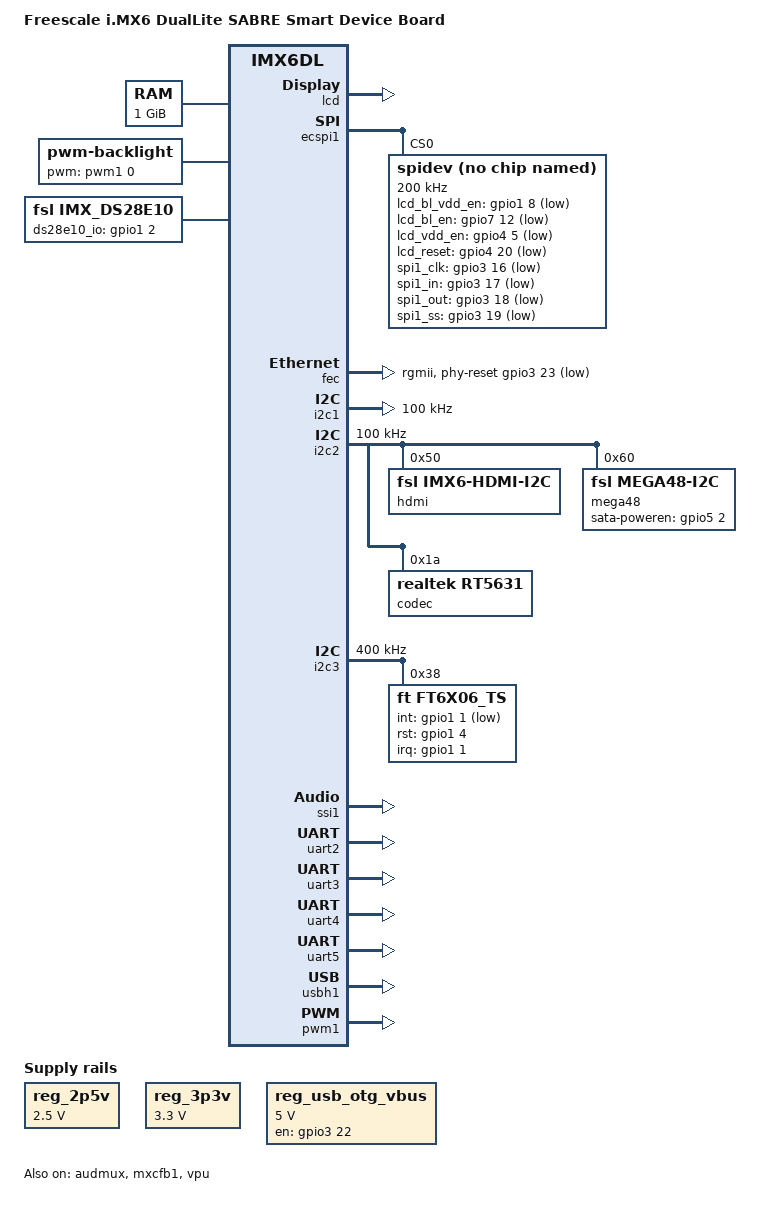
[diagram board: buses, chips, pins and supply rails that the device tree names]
/*
 * Copyright (C) 2013 Freescale Semiconductor, Inc.
 *
 * This program is free software; you can redistribute it and/or modify
 * it under the terms of the GNU General Public License version 2 as
 * published by the Free Software Foundation.
 */

/dts-v1/;

#include "hio-ppc4535-dl.dtsi"
#include "hio-ppc4535-qdl-sabresd.dtsi"

/ {
	model = "Freescale i.MX6 DualLite SABRE Smart Device Board";
	compatible = "fsl,imx6dl-sabresd", "fsl,imx6dl";

	memory {
		reg = <0x10000000 0x40000000>;
	};

        regulators {    
                compatible = "simple-bus";

                reg_2p5v: 2p5v {
                        compatible = "regulator-fixed";
                        regulator-name = "2P5V";
                        regulator-min-microvolt = <2500000>;
                        regulator-max-microvolt = <2500000>;
                        regulator-always-on;
                };

		reg_3p3v: 3p3v {
			compatible = "regulator-fixed";
			regulator-name = "3P3V";
			regulator-min-microvolt = <3300000>;
			regulator-max-microvolt = <3300000>;
			regulator-always-on;
		};

		reg_usb_otg_vbus: usb_otg_vbus {
			compatible = "regulator-fixed";
			regulator-name = "usb_otg_vbus";
			regulator-min-microvolt = <5000000>;
			regulator-max-microvolt = <5000000>;
			gpio = <&gpio3 22 0>;
			enable-active-high;
		};
	};
	sound-hdmi {
		compatible = "fsl,imx6q-audio-hdmi",
			     "fsl,imx-audio-hdmi";
		model = "imx-audio-hdmi";
		hdmi-controller = <&hdmi_audio>;
	};
	sound {
		compatible = "fsl,imx-audio-rt5631";
		model = "imx6dl-rt5631";
		ssi-controller = <&ssi1>;
		audio-codec = <&codec>;
		audio-routing =
			//"Mic Bias1", "Mic Jack",
			//"MIC1", "Mic Bias1",
			"Headphone Jack", "HPOL",
			"Headphone Jack", "HPOR",
			"Ext Spk", "SPOL",
			"Ext Spk", "SPOR";
		mux-int-port = <1>;
		mux-ext-port = <4>;
		
		//hp-det-gpios = <&gpio7 8 1>;
		/*+++wwj begin 20150317@add mic detect*/
		//#ifdef CONFIG_MIC_DEC
	        //      mic-det-gpios = <&gpio7 11 1>;
		//#endif
		/*+++wwj end 20150317@add mic detect*/
	};
	/*
	sound {
		compatible = "fsl,imx6q-sabrelite-sgtl5000",
			     "fsl,imx-audio-sgtl5000";
		model = "imx6q-sabrelite-sgtl5000";
		ssi-controller = <&ssi1>;
		audio-codec = <&codec>;
		audio-routing =
			"MIC_IN", "Mic Jack",
			"Mic Jack", "Mic Bias",
			"Headphone Jack", "HP_OUT";
		mux-int-port = <1>;
		mux-ext-port = <4>;
	};
	*/
	v4l2_out {
		compatible = "fsl,mxc_v4l2_output";
		status = "okay";
	};
	backlight {
		compatible = "pwm-backlight";
		pwms = <&pwm1 0 5000000>;
		brightness-levels = <0 50 80 110 140 170 200>;
		default-brightness-level = <0>;
	};

	//add ben sharp lcd
	#if 0
	sharplcd {
		compatible = "fsl,sharplcd";
	        status = "okay";	

		lcd_bl_vdd_en = <&gpio1 8 1>;
		lcd_bl_en = <&gpio7 12 1>;
		lcd_vdd_en = <&gpio4 5 1>;
		lcd_reset = <&gpio4 20 1>;

		spi1_clk = <&gpio3 16 1>;	
		spi1_in = <&gpio3 17 1>;
		spi1_out = <&gpio3 18 1>;
		spi1_ss = <&gpio3 19 1>;
	};
	#endif
//+++MQ
    ds28e10 {
        compatible = "fsl,imx_ds28e10";
        status = "okay";
        ds28e10_io = <&gpio1 2 0>;
    };
//+++MQ
};

&audmux {
        status = "okay";
        pinctrl-names = "default";
        pinctrl-0 = <&pinctrl_audmux_1>;
};

//&ldb {
//	ipu_id = <0>;
//	sec_ipu_id = <0>;
//};

&lcd {
	ipu_id = <0>;
	sec_ipu_id = <0>;

	status = "okay";
};

&mxcfb1 {
        compatible = "fsl,mxc_sdc_fb";
        disp_dev = "lcd";
        interface_pix_fmt = "RGB24";
        mode_str ="480x800";
        default_bpp = <32>;
        int_clk = <0>;
        late_init = <0>;
        status = "okay";
};


//&mxcfb2 {
//        status = "okay";
//};

//&mxcfb3 {
//        status = "okay";
//};

//&mxcfb4 {
//        status = "okay";
//};

&ecspi1 {
	fsl,spi-num-chipselects = <1>;
	//cs-gpios = <&gpio3 19 0>;
	pinctrl-names = "default";
	pinctrl-0 = <&pinctrl_ecspi1_2>;
	status = "ok";

	spidev@0 {
		compatible = "spidev";
		spi-max-frequency = <200000>;
		reg = <0>;

	        lcd_bl_vdd_en = <&gpio1 8 1>;
                lcd_bl_en = <&gpio7 12 1>;
                lcd_vdd_en = <&gpio4 5 1>;
                lcd_reset = <&gpio4 20 1>;

                spi1_clk = <&gpio3 16 1>;
                spi1_in = <&gpio3 17 1>;
                spi1_out = <&gpio3 18 1>;
                spi1_ss = <&gpio3 19 1>;
	};
};

&fec {
	pinctrl-names = "default";
	pinctrl-0 = <&pinctrl_enet_1>;
	phy-mode = "rgmii";
	phy-reset-gpios = <&gpio3 23 0>;
	status = "okay";
};

&i2c1 {
	status = "okay";
	clock-frequency = <100000>;
	pinctrl-names = "default";
	pinctrl-0 = <&pinctrl_i2c1_1>;
};

&i2c2 {
	clock-frequency = <100000>;
	pinctrl-names = "default";
	pinctrl-0 = <&pinctrl_i2c2_2>;
	status = "okay";

	hdmi: edid@50 {
		compatible = "fsl,imx6-hdmi-i2c";
		reg = <0x50>;
	};

	mega48@60 {
		compatible = "fsl,mega48-i2c";
		sata-poweren=<&gpio5 2 0>;
		reg = <0x60>;
	};

	codec: rt5631@1a {
		  compatible = "realtek,rt5631";
		  //compatible = "realtek,alc5631";
		  reg = <0x1a>;
		  clocks = <&clks 201>;
	};

#if 0
	ct36x_ts@01 {
		compatible = "eeti,ct36x_ts";
		reg = <0x01>;
		interrupt-parent = <&gpio1>;
		interrupts = <1 3>;//falling edge
		gpio_int = <&gpio1 5 3>;
		gpio_rst = <&gpio1 4 0>;
        	};
#endif

	/*
	codec: sgtl5000@0a {
		compatible = "fsl,sgtl5000";
		reg = <0x0a>;
		clocks = <&clks 201>;
		VDDA-supply = <&reg_2p5v>;
		VDDIO-supply = <&reg_3p3v>;
	};
	*/
};

&i2c3 {
	clock-frequency = <400000>;
	pinctrl-names = "default";
	pinctrl-0 = <&pinctrl_i2c3_2>;
	status = "okay";	

        ft6x06_ts@0x38 {
                compatible = "ft,ft6x06_ts";
                reg = <0x38>;
                interrupt-parent = <&gpio1>;
                interrupts = <1 3>;//falling edge
                gpio_int = <&gpio1 1 3>;
                gpio_rst = <&gpio1 4 0>;
        };

#if 0
//#ifdef CONFIG_LCD_7INCH
	//+++MQ for 7 inch
    	gt801_ts@55 {
        	compatible = "eeti,gt801_ts";
        	reg = <0x55>;
        	interrupt-parent = <&gpio1>;
        	interrupts = <1 3>;//falling edge
        	//wakeup-gpios = <&gpio6 7 0>;
		gpio_int = <&gpio1 1 3>;
		gpio_rst = <&gpio1 4 0>;
    	};
	//MQ+++
//#endif
#endif
#if 0
	max7310_b: gpio@32 {
		compatible = "maxim,max7310";
		reg = <0x32>;
		gpio-controller;
		#gpio-cells = <2>;
	};
#endif
};

&iomuxc {
	pinctrl-names = "default";
	pinctrl-0 = <&pinctrl_hog>;

	hog {
		pinctrl_hog: hoggrp {
			fsl,pins = <
				/* MAX17135 */
				MX6QDL_PAD_EIM_A17__GPIO2_IO21 0x80000000
				MX6QDL_PAD_EIM_D20__GPIO3_IO20 0x80000000
				MX6QDL_PAD_EIM_A18__GPIO2_IO20 0x80000000
				MX6QDL_PAD_EIM_OE__GPIO2_IO25 0x80000000
				/* elan touch */
				MX6QDL_PAD_EIM_A20__GPIO2_IO18 0x80000000
				MX6QDL_PAD_EIM_DA8__GPIO3_IO08 0x80000000
				MX6QDL_PAD_GPIO_4__GPIO1_IO04  0x80000000
				MX6QDL_PAD_GPIO_1__GPIO1_IO01  0x170b0		
				/*MX6QDL_PAD_EIM_D28__GPIO3_IO28 0x170b0*/
				/*+++ wangwenjing*/
				MX6QDL_PAD_EIM_A25__GPIO5_IO02 0x80000000

				/*mic dec 7-11 ++ben*/
				MX6QDL_PAD_GPIO_16__GPIO7_IO11 0x80000000
				/*hp_det*/
				MX6QDL_PAD_SD3_RST__GPIO7_IO08 0x80000000

				/*sharp lcd*/
				MX6QDL_PAD_GPIO_8__GPIO1_IO08 0x80000000
				MX6QDL_PAD_GPIO_17__GPIO7_IO12 0x80000000
				MX6QDL_PAD_GPIO_19__GPIO4_IO05 0x80000000
				MX6QDL_PAD_DI0_PIN4__GPIO4_IO20 0x80000000

				MX6QDL_PAD_EIM_D16__GPIO3_IO16 0x80000000
				MX6QDL_PAD_EIM_D17__GPIO3_IO17 0x80000000
				MX6QDL_PAD_EIM_D18__GPIO3_IO18 0x80000000
				MX6QDL_PAD_EIM_D19__GPIO3_IO19 0x80000000
			>;
		};
	};
};

&ssi1 {
	fsl,mode = "i2s-slave";
	status = "okay";
};

#if 0
&flexcan1 {
		pinctrl-names = "default";
		pinctrl-0 = <&pinctrl_flexcan1_1>;
		pinctrl-assert-gpios = <&max7310_b 3 GPIO_ACTIVE_HIGH>; /* TX */
		trx-en-gpio = <&max7310_b 6 GPIO_ACTIVE_HIGH>;
		trx-stby-gpio = <&max7310_b 5 GPIO_ACTIVE_HIGH>;
		status = "okay"; /* pin conflict with fec */
};
#endif

&uart2 {
	status = "okay";
	pinctrl-names = "default";
	pinctrl-0 = <&pinctrl_uart2_1>;
};

&uart3 {
	status = "okay";
	fsl,uart-has-rtscts;
	pinctrl-names = "default";
	pinctrl-0 = <&pinctrl_uart3_1>;
};

&uart4 {
       status = "okay";
       pinctrl-names = "default";
       pinctrl-0 = <&pinctrl_uart4_1>;
};

&uart5 {
       status = "okay";
       pinctrl-names = "default";
       pinctrl-0 = <&pinctrl_uart5_1>;
};

&usbh1 {
	status = "okay";
};

#if 0
&hdmi_core {
        ipu_id = <0>;
        disp_id = <1>;
        status = "disabled";
};
#endif

#if 0     
&hdmi_video {
        fsl,phy_reg_vlev = <0x0294>;
        fsl,phy_reg_cksymtx = <0x800d>;
        status = "okay";
/*pinctrl already defined in i2c2 pinctrl
        pinctrl-names = "default";
        pinctrl-0 = <&pinctrl_hdmi_hdcp_1>;
        fsl,hdcp; 
*/
};
#endif

#if 0
&hdmi_audio {
        status = "okay";
};
#endif 

/*---wangwenjing 20150611@delete for SATA_POWER_EN
&hdmi_cec {
        pinctrl-names = "default";
        pinctrl-0 = <&pinctrl_hdmi_cec_1>;
        status = "okay";
};
*/

&vpu {
	pu-supply = <&reg_pu>; /* ldo-bypass:use pu_dummy if VDDSOC share with VDDPU */
	status = "okay";
};
&gpc {
	fsl,cpu_pupscr_sw2iso = <0xf>;
	fsl,cpu_pupscr_sw = <0xf>;
	fsl,cpu_pdnscr_iso2sw = <0x1>;
	fsl,cpu_pdnscr_iso = <0x1>;
	fsl,ldo-bypass = <1>; /* use ldo-bypass, u-boot will check it and configure */
	fsl,wdog-reset = <1>; /* watchdog select of reset source */
	pu-supply = <&reg_pu>; /* ldo-bypass:use pu_dummy if VDDSOC share with VDDPU */
};

&gpu {
	pu-supply = <&reg_pu>; /* ldo-bypass:use pu_dummy if VDDSOC share with VDDPU */
};
#if 0
&ldb {
	ipu_id = <0>;
	disp_id = <1>;/*snake edit*/
	disp_id = <0>;
	ext_ref = <1>;/*snake edit*/
	ext_ref = <0>;
	mode = "sep1"; /**/
	mode = "sin0"; 
	sec_ipu_id = <1>;
	sec_disp_id = <1>;
	status = "okay";
};
#endif

#if 0
&pwm1 {
	pinctrl-names = "default";
	pinctrl-0 = <&pinctrl_pwm1_1>;
	lcd_12v = <&gpio1 7 0>;
              lcd_3p3 = <&gpio4 11 1>;
	bl_pwr = <&gpio1 6 0>; 
	status = "okay";
};
#endif

&pwm1 {
        pinctrl-names = "default";
        pinctrl-0 = <&pinctrl_pwm1_1>;
        //lcd_12v = <&gpio1 8 0>;
        //lcd_3p3 = <&gpio4 5 1>;
        //bl_pwr = <&gpio7 12 0>;
        status = "okay";
};
